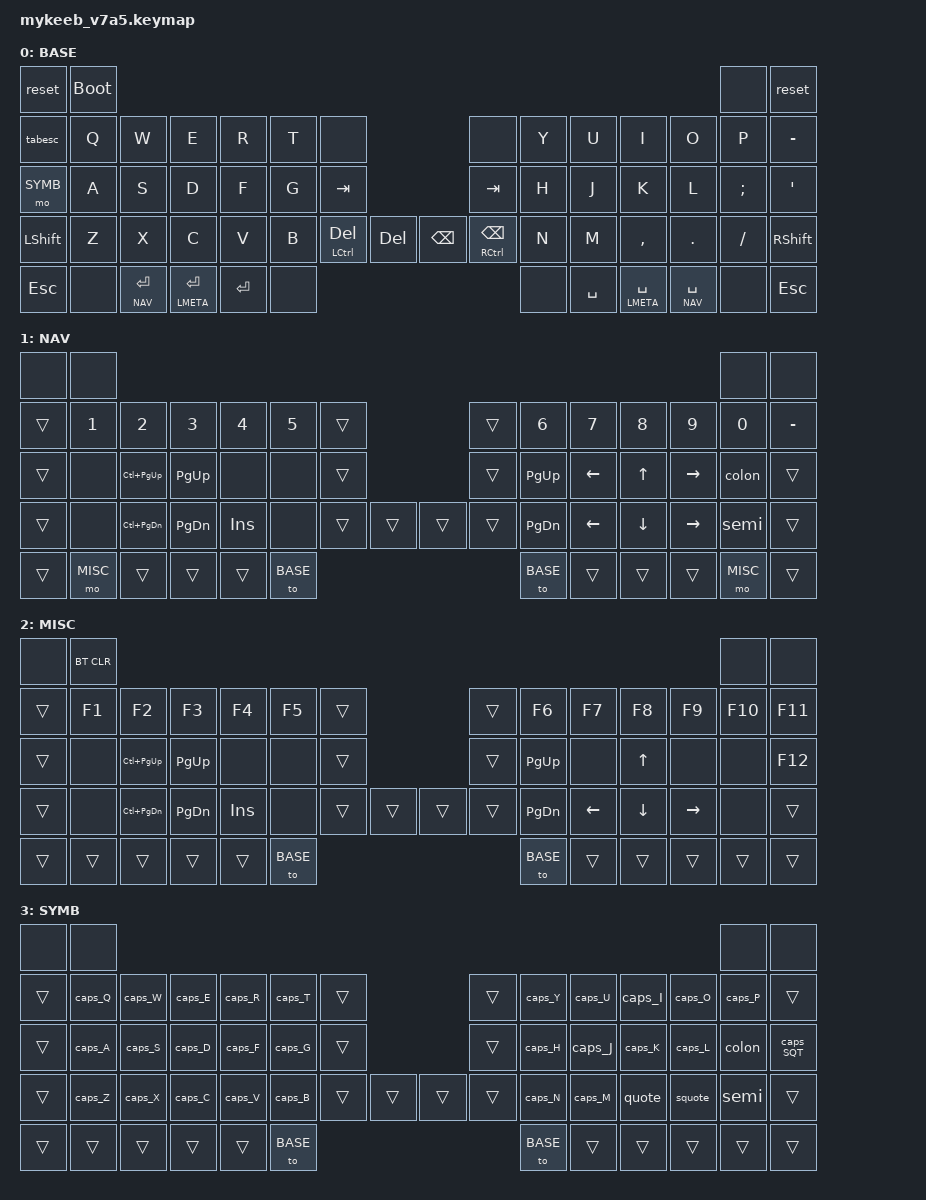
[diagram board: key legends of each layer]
#include <behaviors.dtsi>
#include <dt-bindings/zmk/keys.h>
#include <dt-bindings/zmk/bt.h>
#include <dt-bindings/zmk/outputs.h>


//┏━━━━━━━━━━━━━━━━━━━━━━━━━━━━━━━━━━━━━━━━━━━━━━━━━━━━━━━━━━━━━━━━━━━━━━━━━━━━━━┓
//┃    this is expecting NEO 2.0 layout to be configured                         ┃
//┃    - it has some 7th row keys, to allow for y and ß                          ┃
//┃    - especially the macros for special characters use caps as an modifier    ┃
//┗━━━━━━━━━━━━━━━━━━━━━━━━━━━━━━━━━━━━━━━━━━━━━━━━━━━━━━━━━━━━━━━━━━━━━━━━━━━━━━┛


//┏━━━━━━━━━━━━━━━━━━━━━━━━━━━━━━━━━━━━━━━━━━━━━━━━━━━━━━━━━━━━━━━━━━━━━━━━━━━━━━┓
//┃    defines and macros                                                        ┃
#define PTAB LC(PG_UP)
#define NTAB LC(PG_DN)

// Macro to apply momentary-layer-on-hold/toggle-layer-on-tap to a specific layer
#define MO_TOG(layer) &mo_tog layer layer

#define CAPS_MACRO(name,key) \
    name: name { \
            label = ZMK_MACRO_STRINGIFY(ZM_ ## name); \
            compatible = "zmk,behavior-macro"; \
            #binding-cells = <0>; \
            bindings = <&macro_press &kp CAPS> , <&macro_tap &kp key >  , <&macro_release &kp CAPS> ; \
        };
//┗━━━━━━━━━━━━━━━━━━━━━━━━━━━━━━━━━━━━━━━━━━━━━━━━━━━━━━━━━━━━━━━━━━━━━━━━━━━━━━┛

//┏━━━━━━━━━━━━━━━━━━━━━━━━━━━━━━━━━━━━━━━━━━━━━━━━━━━━━━━━━━━━━━━━━━━━━━━━━━━━━━┓
//┃    layers                                                                    ┃
#define BASE 0
#define NAV  1
#define MISC 2
#define SYMB 3
//┗━━━━━━━━━━━━━━━━━━━━━━━━━━━━━━━━━━━━━━━━━━━━━━━━━━━━━━━━━━━━━━━━━━━━━━━━━━━━━━┛

&sl {
    release-after-ms = <2000>;
};

/ {
    behaviors {
        // This is mod-tap with the "balanced" flavor.
        // Improves the '&mt RCTRL SPACE' behavior when typing quickly.
        bmt: balanced_mod_tap {
            compatible = "zmk,behavior-hold-tap";
            label = "MOD_TAP";
            #binding-cells = <2>;
            flavor = "balanced";
            tapping-term-ms = <200>;
            bindings = <&kp>, <&kp>;
        };
        skq: sticky_key_quick_release {
            compatible = "zmk,behavior-sticky-key";
            label = "STICKY_KEY_QUICK_RELEASE";
            #binding-cells = <1>;
            bindings = <&kp>;
            release-after-ms = <1000>;
            quick-release;
            ignore-modifiers;
        };
        mo_tog: behavior_mo_tog {
            compatible = "zmk,behavior-hold-tap";
            label = "mo_tog";
            #binding-cells = <2>;
            flavor = "hold-preferred";
            tapping-term-ms = <200>;
            bindings = <&mo>, <&tog>;
        };
        tabesc: tab_escape {
            compatible = "zmk,behavior-mod-morph";
            label = "TAB_ESCAPE";
            #binding-cells = <0>;
            bindings = <&kp ESC>, <&kp TAB>;
            mods = <(MOD_LGUI|MOD_LSFT|MOD_RGUI|MOD_RSFT)>;
        };
    };

    macros {
        CAPS_MACRO(caps_Q, Q)
        CAPS_MACRO(caps_W, W)
        CAPS_MACRO(caps_E, E)
        CAPS_MACRO(caps_R, R)
        CAPS_MACRO(caps_T, T)
        CAPS_MACRO(caps_Y, Y)
        CAPS_MACRO(caps_U, U)
        CAPS_MACRO(caps_I, I)
        CAPS_MACRO(caps_O, O)
        CAPS_MACRO(caps_P, P)

        CAPS_MACRO(caps_A, A)
        CAPS_MACRO(caps_S, S)
        CAPS_MACRO(caps_D, D)
        CAPS_MACRO(caps_F, F)
        CAPS_MACRO(caps_G, G)
        CAPS_MACRO(caps_H, H)
        CAPS_MACRO(caps_J, J)
        CAPS_MACRO(caps_K, K)
        CAPS_MACRO(caps_L, L)
        CAPS_MACRO(colon, SEMI)
        CAPS_MACRO(caps_SQT, SQT)

        CAPS_MACRO(caps_Z, Z)
        CAPS_MACRO(caps_X, X)
        CAPS_MACRO(caps_C, C)
        CAPS_MACRO(caps_V, V)
        CAPS_MACRO(caps_B, B)
        CAPS_MACRO(caps_N, N)
        CAPS_MACRO(caps_M, M)
        CAPS_MACRO(quote, COMMA)
        CAPS_MACRO(squote, DOT)
        CAPS_MACRO(semi, FSLH)
    };

    combos {
        compatible = "zmk,combos";
// 0          1                                                                                                                                                      2          3
//┣━━━━━━━━━━╋━━━━━━━━━━╋━━━━━━━━━━┳━━━━━━━━━━┳━━━━━━━━━━┳━━━━━━━━━━┳━━━━━━━━━━┓                             ┏━━━━━━━━━━┳━━━━━━━━━━┳━━━━━━━━━━┳━━━━━━━━━━┳━━━━━━━━━━╋━━━━━━━━━━╋━━━━━━━━━━┫
// 4          5          6          7          8          9          10      /*┃*/                            11         12         13         14         15         16         17
// 18         19         20         21         22         23         24      /*┣━━━━━━━━━━┓       ┏━━━━━━━*/  25         26         27         28         29         30         31
// 32         33         34         35         36         37         38         39                 40         41         42         43         44         45         46         47 
//┣━━━━━━━━━━╋━━━┳━━━━━━┻━━━━━━━┳━━┻━━━━━━━━━━┻┳━━━━━━━━━┻━━━━┳━━━━━┻━━━━━━━━┳━┻━━━━━━━━━━┻━┓   ┏━┻━━━━━━━━━━┻━┳━━━━━━━━┻━━━━━┳━━━━┻━━━━━━━━━┳┻━━━━━━━━━━┻━━┳━━━━━━━┻━━━━━━┳━━━╋━━━━━━━━━━┫
   48             49             50             51             52             53                 54             55             56             57             58                 59
//┗━━━━━━━━━━┛   ┗━━━━━━━━━━━━━━┻━━━━━━━━━━━━━━┻━━━━━━━━━━━━━━┻━━━━━━━━━━━━━━┻━━━━━━━━━━━━━━┛   ┗━━━━━━━━━━━━━━┻━━━━━━━━━━━━━━┻━━━━━━━━━━━━━━┻━━━━━━━━━━━━━━┻━━━━━━━━━━━━━━┛   ┗━━━━━━━━━━┛
        combo_ret {
            timeout-ms = <40>;
            key-positions = <50 51>;
            bindings = <&kp RET>;
        };
        combo_ret_2 {
            timeout-ms = <40>;
            key-positions = <51 52>;
            bindings = <&kp RET>;
        };
        combo_spc {
            timeout-ms = <40>;
            key-positions = <56 57>;
            bindings = <&kp SPC>;
        };
        combo_spc_2 {
            timeout-ms = <40>;
            key-positions = <55 56>;
            bindings = <&kp SPC>;
        };
    };

    keymap {
        compatible = "zmk,keymap";

        base_layer {
            label= "BASE";
            bindings = <
  &reset     &bootloader                                                                                                                                            &none      &reset   
//┣━━━━━━━━━━╋━━━━━━━━━━╋━━━━━━━━━━┳━━━━━━━━━━┳━━━━━━━━━━┳━━━━━━━━━━┳━━━━━━━━━━┓                             ┏━━━━━━━━━━┳━━━━━━━━━━┳━━━━━━━━━━┳━━━━━━━━━━┳━━━━━━━━━━╋━━━━━━━━━━╋━━━━━━━━━━┫
  &tabesc    &kp Q      &kp W      &kp E      &kp R      &kp T      &none    /*┃*/                           &none      &kp Y      &kp U      &kp I      &kp O      &kp P      &kp MINUS
  &mo SYMB   &kp A      &kp S      &kp D      &kp F      &kp G      &kp TAB  /*┣━━━━━━━━━━┓       ┏━━━━━━━*/ &kp TAB    &kp H      &kp J      &kp K      &kp L      &kp SEMI   &kp SQT
  &kp LSHFT  &kp Z      &kp X      &kp C      &kp V      &kp B      &bmt LCTRL DEL &kp DEL        &kp BSPC   &bmt RCTRL BSPC &kp N &kp M      &kp COMMA  &kp DOT    &kp FSLH   &kp RSHIFT
//┣━━━━━━━━━━╋━━━┳━━━━━━┻━━━━━━━┳━━┻━━━━━━━━━━┻┳━━━━━━━━━┻━━━━┳━━━━━┻━━━━━━━━┳━┻━━━━━━━━━━┻━┓   ┏━┻━━━━━━━━━━┻━┳━━━━━━━━┻━━━━━┳━━━━┻━━━━━━━━━┳┻━━━━━━━━━━┻━━┳━━━━━━━┻━━━━━━┳━━━╋━━━━━━━━━━┫
  &kp ESC        &none          &lt NAV  RET   &bmt LMETA RET &kp RET        &none              &none          &kp SPC        &bmt LMETA SPC &lt NAV  SPC   &none              &kp ESC
//┗━━━━━━━━━━┛   ┗━━━━━━━━━━━━━━┻━━━━━━━━━━━━━━┻━━━━━━━━━━━━━━┻━━━━━━━━━━━━━━┻━━━━━━━━━━━━━━┛   ┗━━━━━━━━━━━━━━┻━━━━━━━━━━━━━━┻━━━━━━━━━━━━━━┻━━━━━━━━━━━━━━┻━━━━━━━━━━━━━━┛   ┗━━━━━━━━━━┛
            >;
        };
        nav_layer {
            label= "NAV";
            bindings = <
  &none      &none                                                                                                                                                  &none      &none
//┣━━━━━━━━━━╋━━━━━━━━━━╋━━━━━━━━━━┳━━━━━━━━━━┳━━━━━━━━━━┳━━━━━━━━━━┳━━━━━━━━━━┓                             ┏━━━━━━━━━━┳━━━━━━━━━━┳━━━━━━━━━━┳━━━━━━━━━━┳━━━━━━━━━━╋━━━━━━━━━━╋━━━━━━━━━━┫
  &trans     &kp N1     &kp N2     &kp N3     &kp N4     &kp N5     &trans   /*┃*/                           &trans     &kp N6     &kp N7     &kp N8     &kp N9     &kp N0     &kp MINUS
  &trans     &none      &kp PTAB   &kp PG_UP  &none      &none      &trans   /*┣━━━━━━━━━━┓       ┏━━━━━━━*/ &trans     &kp PG_UP  &kp LEFT   &kp UP     &kp RIGHT  &colon     &trans
  &trans     &none      &kp NTAB   &kp PG_DN  &kp INS    &none      &trans     &trans             &trans     &trans     &kp PG_DN  &kp LEFT   &kp DOWN   &kp RIGHT  &semi      &trans
//┣━━━━━━━━━━╋━━━┳━━━━━━┻━━━━━━━┳━━┻━━━━━━━━━━┻┳━━━━━━━━━┻━━━━┳━━━━━┻━━━━━━━━┳━┻━━━━━━━━━━┻━┓   ┏━┻━━━━━━━━━━┻━┳━━━━━━━━┻━━━━━┳━━━━┻━━━━━━━━━┳┻━━━━━━━━━━┻━━┳━━━━━━━┻━━━━━━┳━━━╋━━━━━━━━━━┫
  &trans         &mo MISC       &trans         &trans         &trans         &to BASE           &to BASE       &trans         &trans         &trans         &mo MISC           &trans
//┗━━━━━━━━━━┛   ┗━━━━━━━━━━━━━━┻━━━━━━━━━━━━━━┻━━━━━━━━━━━━━━┻━━━━━━━━━━━━━━┻━━━━━━━━━━━━━━┛   ┗━━━━━━━━━━━━━━┻━━━━━━━━━━━━━━┻━━━━━━━━━━━━━━┻━━━━━━━━━━━━━━┻━━━━━━━━━━━━━━┛   ┗━━━━━━━━━━┛
            >;
        };
        misc_layer {
            label= "MISC";
            bindings = <
  &none      &bt BT_CLR                                                                                                                                             &none      &none
//┣━━━━━━━━━━╋━━━━━━━━━━╋━━━━━━━━━━┳━━━━━━━━━━┳━━━━━━━━━━┳━━━━━━━━━━┳━━━━━━━━━━┓                             ┏━━━━━━━━━━┳━━━━━━━━━━┳━━━━━━━━━━┳━━━━━━━━━━┳━━━━━━━━━━╋━━━━━━━━━━╋━━━━━━━━━━┫
  &trans     &kp F1     &kp F2     &kp F3     &kp F4     &kp F5     &trans   /*┃*/                           &trans     &kp F6     &kp F7     &kp F8     &kp F9     &kp F10    &kp F11
  &trans     &none      &kp PTAB   &kp PG_UP  &none      &none      &trans   /*┣━━━━━━━━━━┓       ┏━━━━━━━*/ &trans     &kp PG_UP  &none      &kp UP     &none      &none      &kp F12
  &trans     &none      &kp NTAB   &kp PG_DN  &kp INS    &none      &trans     &trans             &trans     &trans     &kp PG_DN  &kp LEFT   &kp DOWN   &kp RIGHT  &none      &trans
//┣━━━━━━━━━━╋━━━┳━━━━━━┻━━━━━━━┳━━┻━━━━━━━━━━┻┳━━━━━━━━━┻━━━━┳━━━━━┻━━━━━━━━┳━┻━━━━━━━━━━┻━┓   ┏━┻━━━━━━━━━━┻━┳━━━━━━━━┻━━━━━┳━━━━┻━━━━━━━━━┳┻━━━━━━━━━━┻━━┳━━━━━━━┻━━━━━━┳━━━╋━━━━━━━━━━┫
  &trans         &trans         &trans         &trans         &trans         &to BASE           &to BASE       &trans         &trans         &trans         &trans             &trans
//┗━━━━━━━━━━┛   ┗━━━━━━━━━━━━━━┻━━━━━━━━━━━━━━┻━━━━━━━━━━━━━━┻━━━━━━━━━━━━━━┻━━━━━━━━━━━━━━┛   ┗━━━━━━━━━━━━━━┻━━━━━━━━━━━━━━┻━━━━━━━━━━━━━━┻━━━━━━━━━━━━━━┻━━━━━━━━━━━━━━┛   ┗━━━━━━━━━━┛
            >;
        };
        symb_layer {
            label= "SYMB";
            bindings = <
  &none      &none                                                                                                                                                  &none      &none
//┣━━━━━━━━━━╋━━━━━━━━━━╋━━━━━━━━━━┳━━━━━━━━━━┳━━━━━━━━━━┳━━━━━━━━━━┳━━━━━━━━━━┓                             ┏━━━━━━━━━━┳━━━━━━━━━━┳━━━━━━━━━━┳━━━━━━━━━━┳━━━━━━━━━━╋━━━━━━━━━━╋━━━━━━━━━━┫
  &trans     &caps_Q    &caps_W    &caps_E    &caps_R    &caps_T    &trans   /*┃*/                           &trans     &caps_Y    &caps_U    &caps_I    &caps_O    &caps_P    &trans
  &trans     &caps_A    &caps_S    &caps_D    &caps_F    &caps_G    &trans   /*┣━━━━━━━━━━┓       ┏━━━━━━━*/ &trans     &caps_H    &caps_J    &caps_K    &caps_L    &colon     &caps_SQT
  &trans     &caps_Z    &caps_X    &caps_C    &caps_V    &caps_B    &trans     &trans            &trans      &trans     &caps_N    &caps_M    &quote     &squote    &semi      &trans
//┣━━━━━━━━━━╋━━━┳━━━━━━┻━━━━━━━┳━━┻━━━━━━━━━━┻┳━━━━━━━━━┻━━━━┳━━━━━┻━━━━━━━━┳━┻━━━━━━━━━━┻━┓   ┏━┻━━━━━━━━━━┻━┳━━━━━━━━┻━━━━━┳━━━━┻━━━━━━━━━┳┻━━━━━━━━━━┻━━┳━━━━━━━┻━━━━━━┳━━━╋━━━━━━━━━━┫
  &trans         &trans         &trans         &trans         &trans         &to BASE           &to BASE       &trans         &trans         &trans         &trans             &trans
//┗━━━━━━━━━━┛   ┗━━━━━━━━━━━━━━┻━━━━━━━━━━━━━━┻━━━━━━━━━━━━━━┻━━━━━━━━━━━━━━┻━━━━━━━━━━━━━━┛   ┗━━━━━━━━━━━━━━┻━━━━━━━━━━━━━━┻━━━━━━━━━━━━━━┻━━━━━━━━━━━━━━┻━━━━━━━━━━━━━━┛   ┗━━━━━━━━━━┛
            >;
        };
    };
};
